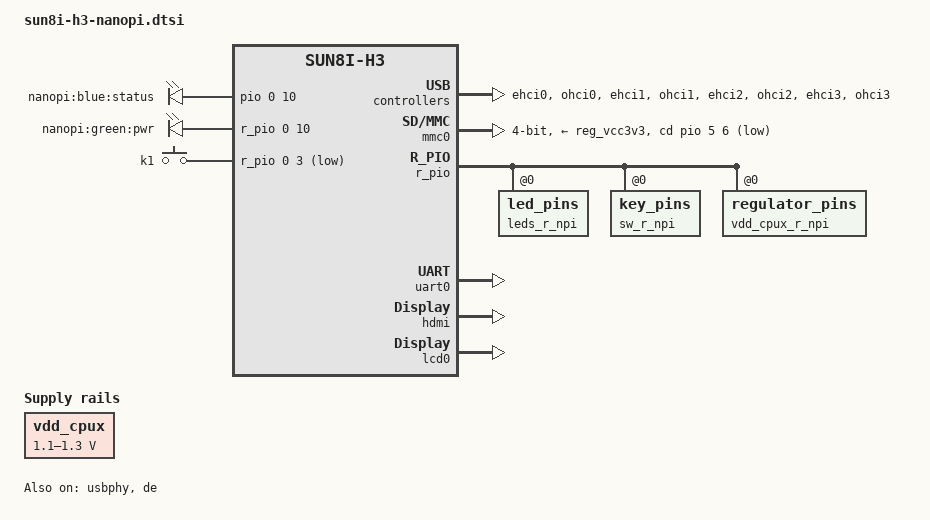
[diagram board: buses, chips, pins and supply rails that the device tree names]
/*
 * Copyright (C) 2016 James Pettigrew <james@innovum.com.au>
 * Copyright (C) 2016 Milo Kim <woogyom.kim@gmail.com>
 *
 * This file is dual-licensed: you can use it either under the terms
 * of the GPL or the X11 license, at your option. Note that this dual
 * licensing only applies to this file, and not this project as a
 * whole.
 *
 *  a) This file is free software; you can redistribute it and/or
 *     modify it under the terms of the GNU General Public License as
 *     published by the Free Software Foundation; either version 2 of the
 *     License, or (at your option) any later version.
 *
 *     This file is distributed in the hope that it will be useful,
 *     but WITHOUT ANY WARRANTY; without even the implied warranty of
 *     MERCHANTABILITY or FITNESS FOR A PARTICULAR PURPOSE.  See the
 *     GNU General Public License for more details.
 *
 * Or, alternatively,
 *
 *  b) Permission is hereby granted, free of charge, to any person
 *     obtaining a copy of this software and associated documentation
 *     files (the "Software"), to deal in the Software without
 *     restriction, including without limitation the rights to use,
 *     copy, modify, merge, publish, distribute, sublicense, and/or
 *     sell copies of the Software, and to permit persons to whom the
 *     Software is furnished to do so, subject to the following
 *     conditions:
 *
 *     The above copyright notice and this permission notice shall be
 *     included in all copies or substantial portions of the Software.
 *
 *     THE SOFTWARE IS PROVIDED "AS IS", WITHOUT WARRANTY OF ANY KIND,
 *     EXPRESS OR IMPLIED, INCLUDING BUT NOT LIMITED TO THE WARRANTIES
 *     OF MERCHANTABILITY, FITNESS FOR A PARTICULAR PURPOSE AND
 *     NONINFRINGEMENT. IN NO EVENT SHALL THE AUTHORS OR COPYRIGHT
 *     HOLDERS BE LIABLE FOR ANY CLAIM, DAMAGES OR OTHER LIABILITY,
 *     WHETHER IN AN ACTION OF CONTRACT, TORT OR OTHERWISE, ARISING
 *     FROM, OUT OF OR IN CONNECTION WITH THE SOFTWARE OR THE USE OR
 *     OTHER DEALINGS IN THE SOFTWARE.
 */

/dts-v1/;
#include "sun8i-h3.dtsi"
#include "sunxi-common-regulators.dtsi"

#include <dt-bindings/gpio/gpio.h>
#include <dt-bindings/input/input.h>
#include <dt-bindings/pinctrl/sun4i-a10.h>
#include <dt-bindings/thermal/thermal.h>

/ {
	aliases {
		serial0 = &uart0;
		lcd0 = &lcd0;
		ethernet0 = &emac;
	};

	chosen {
		stdout-path = "serial0:115200n8";
	};

	leds {
		compatible = "gpio-leds";
		pinctrl-names = "default";
		pinctrl-0 = <&leds_npi>, <&leds_r_npi>;

		status {
			label = "nanopi:blue:status";
			gpios = <&pio 0 10 GPIO_ACTIVE_HIGH>;
			linux,default-trigger = "heartbeat";
		};

		pwr {
			label = "nanopi:green:pwr";
			gpios = <&r_pio 0 10 GPIO_ACTIVE_HIGH>;
			default-state = "on";
		};
	};

	r_gpio_keys {
		compatible = "gpio-keys";
		input-name = "k1";
		pinctrl-names = "default";
		pinctrl-0 = <&sw_r_npi>;

		k1@0 {
			label = "k1";
			linux,code = <KEY_POWER>;
			gpios = <&r_pio 0 3 GPIO_ACTIVE_LOW>;
		};
	};

	vdd_cpux: gpio-regulator {
		compatible = "regulator-gpio";

		pinctrl-names = "default";
		pinctrl-0 = <&vdd_cpux_r_npi>;

		regulator-name = "vdd-cpux";
		regulator-type = "voltage";
		regulator-boot-on;
		regulator-always-on;
		regulator-min-microvolt = <1100000>;
		regulator-max-microvolt = <1300000>;
		regulator-ramp-delay = <50>; /* 4ms */

		gpios = <&r_pio 0 6 GPIO_ACTIVE_HIGH>;
		gpios-states = <0x1>;
		states = <1100000 0x0
			  1300000 0x1>;
	};
};

&cpu0 {
	operating-points = <
		1008000	1300000
		816000	1100000
		624000	1100000
		480000	1100000
		312000	1100000
		240000	1100000
		120000	1100000
		>;
	#cooling-cells = <2>;
	cooling-min-level = <0>;
	cooling-max-level = <6>;
	cpu0-supply = <&vdd_cpux>;
};

&cpu_thermal {
	trips {
		cpu_warm: cpu_warm {
			temperature = <65000>;
			hysteresis = <2000>;
			type = "passive";
		};
		cpu_hot: cpu_hot {
			temperature = <75000>;
			hysteresis = <2000>;
			type = "passive";
		};
		cpu_very_hot: cpu_very_hot {
			temperature = <90000>;
			hysteresis = <2000>;
			type = "passive";
		};
		cpu_crit: cpu_crit {
			temperature = <105000>;
			hysteresis = <2000>;
			type = "critical";
		};
	};

	cooling-maps {
		cpu_warm_limit_cpu {
			trip = <&cpu_warm>;
			cooling-device = <&cpu0 THERMAL_NO_LIMIT 1>;
		};
		cpu_hot_limit_cpu {
			trip = <&cpu_hot>;
			cooling-device = <&cpu0 2 3>;
		};
		cpu_very_hot_limit_cpu {
			trip = <&cpu_very_hot>;
			cooling-device = <&cpu0 5 THERMAL_NO_LIMIT>;
		};
	};
};

&ehci0 {
	status = "okay";
};

&ohci0 {
	status = "okay";
};

&ehci1 {
	status = "okay";
};

&ohci1 {
	status = "okay";
};

&ehci2 {
	status = "okay";
};

&ohci2 {
	status = "okay";
};

&ehci3 {
	status = "okay";
};

&ohci3 {
	status = "okay";
};

&mmc0 {
	bus-width = <4>;
	cd-gpios = <&pio 5 6 GPIO_ACTIVE_HIGH>;
	cd-inverted;
	pinctrl-names = "default";
	pinctrl-0 = <&mmc0_pins_a>, <&mmc0_cd_pin>;
	status = "okay";
	vmmc-supply = <&reg_vcc3v3>;
};

&pio {
	leds_npi: led_pins@0 {
		pins = "PA10";
		function = "gpio_out";
	};
};

&r_pio {
	leds_r_npi: led_pins@0 {
		pins = "PL10";
		function = "gpio_out";
	};

	sw_r_npi: key_pins@0 {
		pins = "PL3";
		function = "gpio_in";
	};
	vdd_cpux_r_npi: regulator_pins@0 {
		allwinner,pins = "PL6";
		allwinner,function = "gpio_out";
		allwinner,drive = <SUN4I_PINCTRL_10_MA>;
		allwinner,pull = <SUN4I_PINCTRL_NO_PULL>;
	};
};

&uart0 {
	pinctrl-names = "default";
	pinctrl-0 = <&uart0_pins_a>;
	status = "okay";
};

&usbphy {
	status = "okay";
};

&de {
    status = "okay";
};

&hdmi {
    status = "okay";
};

&lcd0 {
    status = "okay";
};

&emac {
	local-mac-address = [ 00 00 00 00 00 00 ];	
};
